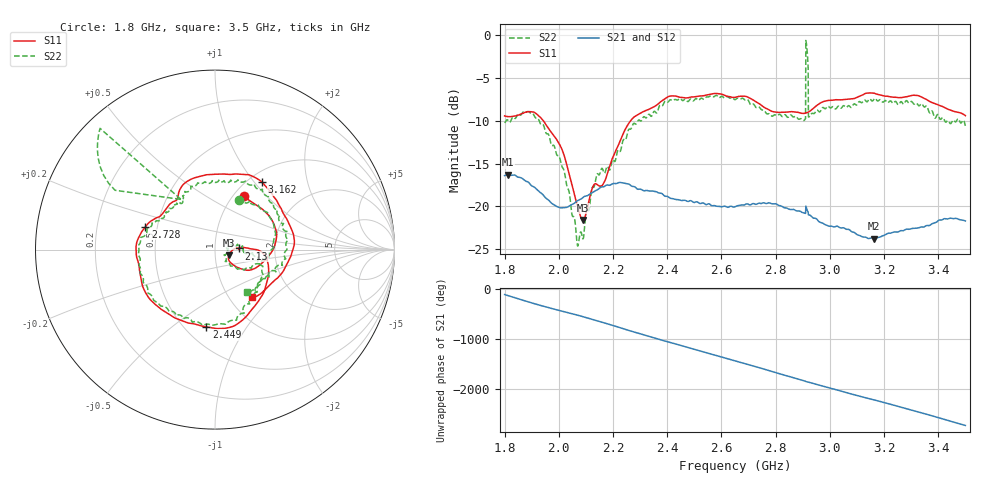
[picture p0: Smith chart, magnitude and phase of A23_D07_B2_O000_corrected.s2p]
! Created with skrf 1.9.0 (http://scikit-rf.org).
# Hz S RI R 50.0
!freq ReS11 ImS11 ReS21 ImS21 ReS12 ImS12 ReS22 ImS22
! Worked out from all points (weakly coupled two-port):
!   1601 points, 1.8 GHz to 3.5 GHz, reference 50 ohm
!   highest |S21| = -16.30 dB at 1.812 GHz (marker M1); lowest = -23.8 dB at 3.162 GHz (marker M2)
!   lowest |S11| = -21.6 dB at 2.089 GHz (marker M3), VSWR 1.18, Z = 58.3 - j3.64 ohm
!   |S11| at or under -10 dB: 1.943 GHz to 2.265 GHz (321.8 MHz wide, 15.3 % of centre)
!   |S22| runs from -24.7 to -0.6 dB; largest |S21 - S12| = 0.0028
!   S11 on the Smith chart (normalised r, x): 1.8 GHz: 1.12, +0.75; 2.13 GHz: 1.31, +0.02; 2.449 GHz: 0.63, -0.67; 2.728 GHz: 0.43, +0.13; 3.162 GHz: 1.15, +1.10; 3.5 GHz: 1.27, -0.76
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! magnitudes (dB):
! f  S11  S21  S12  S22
! 1.8 GHz  -9.4  -16.4  -16.4  -10.2
! 1.812 GHz  -9.5  -16.3  -16.3  -9.9
! 1.883 GHz  -9.0  -17.1  -17.1  -8.9
! 1.941 GHz  -9.9  -18.6  -18.6  -10.4
! 2.013 GHz  -13.4  -20.2  -20.2  -15.4
! 2.068 GHz  -19.9  -19.4  -19.4  -24.4
! 2.084 GHz  -21.4  -19.1  -19.1  -23.1
! 2.089 GHz  -21.6  -19.0  -19.0  -23.8
! 2.13 GHz  -17.4  -18.3  -18.3  -17.7
! 2.166 GHz  -17.3  -17.7  -17.7  -16.0
! 2.265 GHz  -10.0  -17.6  -17.5  -11.0
! 2.367 GHz  -8.0  -18.4  -18.4  -8.6
! 2.449 GHz  -7.3  -19.3  -19.3  -7.4
! 2.65 GHz  -7.3  -20.0  -20.0  -7.5
! 2.728 GHz  -7.8  -19.8  -19.8  -8.4
! 2.902 GHz  -9.1  -20.7  -20.8  -10.0
! 2.911 GHz  -9.1  -20.0  -20.0  -0.6
! 2.92 GHz  -9.0  -20.7  -20.6  -3.8
! 2.934 GHz  -8.7  -21.2  -21.2  -9.1
! 3.162 GHz  -6.8  -23.8  -23.7  -7.5
! 3.217 GHz  -7.2  -23.1  -23.1  -7.8
! 3.5 GHz  -9.4  -21.7  -21.7  -10.6
